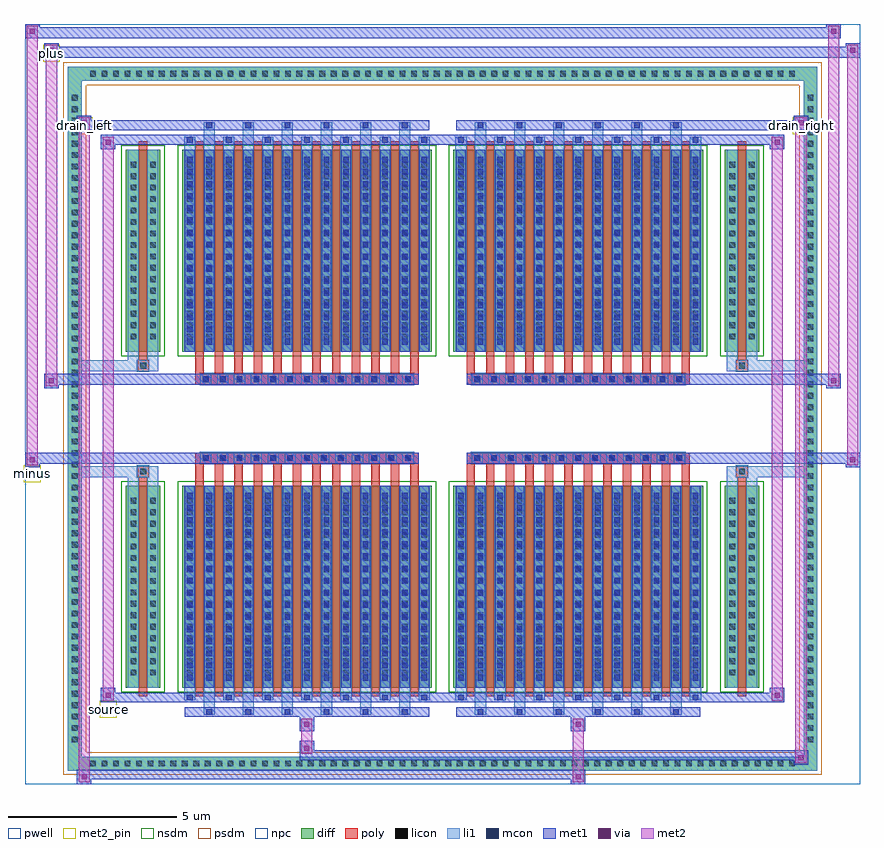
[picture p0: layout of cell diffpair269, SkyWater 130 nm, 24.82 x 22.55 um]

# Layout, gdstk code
import gdstk
lib = gdstk.Library(unit=1e-6, precision=5e-09)
def R(c, l, rs):  # rectangles x0, y0, x1, y1
    for r in rs: c.add(gdstk.rectangle(r[:2], r[2:], *l))
def A(c, l, x, y, w, h, nx, ny, dx, dy):  # array of equal rectangles
    R(c, l, [(x+i*dx, y+j*dy, x+i*dx+w, y+j*dy+h) for i in range(nx) for j in range(ny)])
def P(c, l, *ps):  # polygons
    for p in ps: c.add(gdstk.Polygon(p, *l))
pwell = (64, 44)
diff = (65, 20)
poly = (66, 20)
licon = (66, 44)
li1 = (67, 20)
mcon = (67, 44)
met1 = (68, 20)
via = (68, 44)
met2_pin = (69, 16)
met2 = (69, 20)
nsdm = (93, 44)
psdm = (94, 20)
npc = (95, 20)

diffpair269 = lib.new_cell('diffpair269')
R(diffpair269, pwell, [(-12.39,-10.84,12.39,11.71), (-9.71,-9.03,-0.01,-0.805), (0.01,-9.03,9.71,-0.805), (-9.71,0.805,-0.01,9.03), (0.01,0.805,9.71,9.03)])
A(diffpair269, diff, -10.575, -10.44, 0.41, 0.41, 62, 2, 0.34, 20.47)
A(diffpair269, diff, -11.12, -9.725, 0.41, 0.41, 1, 57, 0, 0.34)
A(diffpair269, diff, 10.71, -9.725, 0.41, 0.41, 1, 57, 0, 0.34)
R(diffpair269, diff, [(-10.575,-10.44,10.575,-10.03), (-11.12,-9.725,-10.71,9.725), (10.71,-9.725,11.12,9.725), (-9.4,-7.985,-8.37,-1.985), (-7.73,-7.985,-0.32,-1.985), (0.32,-7.985,7.73,-1.985), (8.37,-7.985,9.4,-1.985), (-9.4,1.985,-8.37,7.985), (-7.73,1.985,-0.32,7.985), (0.32,1.985,7.73,7.985), (8.37,1.985,9.4,7.985), (-10.575,10.03,10.575,10.44)])
P(diffpair269, diff, [(11.12,10.44),(-11.12,10.44),(-11.12,-10.03),(-10.71,-10.03),(-10.71,10.03),(10.71,10.03),(10.71,-10.03),(-10.71,-10.03),(-11.12,-10.03),(-11.12,-10.44),(11.12,-10.44)])
A(diffpair269, poly, -7.34, -8.235, 0.25, 6.5, 12, 2, 0.58, 9.97)
A(diffpair269, poly, 0.71, -8.235, 0.25, 6.5, 12, 2, 0.58, 9.97)
A(diffpair269, poly, -7.34, -1.735, 0.25, 0.4, 12, 2, 0.58, 3.07)
A(diffpair269, poly, 0.71, -1.735, 0.25, 0.4, 12, 2, 0.58, 3.07)
A(diffpair269, poly, -7.19, -1.335, 0.33, 0.33, 13, 2, 0.5, 2.34)
A(diffpair269, poly, 0.86, -1.335, 0.33, 0.33, 13, 2, 0.5, 2.34)
R(diffpair269, poly, [(-9.01,-8.235,-8.76,-1.735), (8.76,-8.235,9.01,-1.735), (-9.05,-1.735,-8.72,-1.405), (-9.05,-1.735,-8.72,-1.405), (8.72,-1.735,9.05,-1.405), (8.72,-1.735,9.05,-1.405), (-7.34,-1.335,-0.71,-1.005), (0.71,-1.335,7.34,-1.005), (-7.34,1.005,-0.71,1.335), (0.71,1.005,7.34,1.335), (-9.05,1.405,-8.72,1.735), (-9.05,1.405,-8.72,1.735), (8.72,1.405,9.05,1.735), (8.72,1.405,9.05,1.735), (-9.01,1.735,-8.76,8.235), (8.76,1.735,9.01,8.235)])
A(diffpair269, licon, -10.455, -10.32, 0.17, 0.17, 62, 2, 0.34, 20.47)
A(diffpair269, licon, -11, -9.605, 0.17, 0.17, 1, 57, 0, 0.34)
A(diffpair269, licon, 10.83, -9.605, 0.17, 0.17, 1, 57, 0, 0.34)
A(diffpair269, licon, -9.26, -7.62, 0.17, 0.17, 1, 16, 0, 0.34)
A(diffpair269, licon, -8.68, -7.62, 0.17, 0.17, 1, 16, 0, 0.34)
A(diffpair269, licon, -7.59, -7.62, 0.17, 0.17, 13, 16, 0.58, 0.34)
A(diffpair269, licon, 0.46, -7.62, 0.17, 0.17, 13, 16, 0.58, 0.34)
A(diffpair269, licon, 8.51, -7.62, 0.17, 0.17, 1, 16, 0, 0.34)
A(diffpair269, licon, 9.09, -7.62, 0.17, 0.17, 1, 16, 0, 0.34)
A(diffpair269, licon, -7.11, -1.255, 0.17, 0.17, 13, 2, 0.5, 2.34)
A(diffpair269, licon, 0.94, -1.255, 0.17, 0.17, 13, 2, 0.5, 2.34)
A(diffpair269, licon, -9.26, 2.35, 0.17, 0.17, 1, 16, 0, 0.34)
A(diffpair269, licon, -8.68, 2.35, 0.17, 0.17, 1, 16, 0, 0.34)
A(diffpair269, licon, -7.59, 2.35, 0.17, 0.17, 13, 16, 0.58, 0.34)
A(diffpair269, licon, 0.46, 2.35, 0.17, 0.17, 13, 16, 0.58, 0.34)
A(diffpair269, licon, 8.51, 2.35, 0.17, 0.17, 1, 16, 0, 0.34)
A(diffpair269, licon, 9.09, 2.35, 0.17, 0.17, 1, 16, 0, 0.34)
R(diffpair269, licon, [(-8.97,-1.655,-8.8,-1.485), (8.8,-1.655,8.97,-1.485), (-8.97,1.485,-8.8,1.655), (8.8,1.485,8.97,1.655)])
A(diffpair269, li1, -10.535, -10.4, 0.33, 0.33, 62, 2, 0.34, 20.47)
A(diffpair269, li1, -11.08, -9.685, 0.33, 0.33, 1, 57, 0, 0.34)
A(diffpair269, li1, 10.75, -9.685, 0.33, 0.33, 1, 57, 0, 0.34)
A(diffpair269, li1, -7.09, -8.79, 0.33, 0.805, 6, 2, 1.16, 16.775)
A(diffpair269, li1, -7.01, -8.79, 0.17, 0.17, 6, 2, 1.16, 17.41)
A(diffpair269, li1, 0.96, -8.79, 0.33, 0.805, 6, 2, 1.16, 16.775)
A(diffpair269, li1, 1.04, -8.79, 0.17, 0.17, 6, 2, 1.16, 17.41)
A(diffpair269, li1, -7.67, -8.36, 0.33, 0.375, 7, 2, 1.16, 16.345)
A(diffpair269, li1, -7.59, -8.36, 0.17, 0.17, 7, 2, 1.16, 16.55)
A(diffpair269, li1, 0.38, -8.36, 0.33, 0.375, 7, 2, 1.16, 16.345)
A(diffpair269, li1, 0.46, -8.36, 0.17, 0.17, 7, 2, 1.16, 16.55)
A(diffpair269, li1, -7.67, -7.985, 0.33, 6, 13, 2, 0.58, 9.97)
A(diffpair269, li1, 0.38, -7.985, 0.33, 6, 13, 2, 0.58, 9.97)
A(diffpair269, li1, -7.59, -7.77, 0.17, 0.17, 13, 16, 0.58, 0.36)
A(diffpair269, li1, -7.59, -7.77, 0.17, 5.57, 13, 2, 0.58, 9.97)
A(diffpair269, li1, 0.46, -7.77, 0.17, 0.17, 13, 16, 0.58, 0.36)
A(diffpair269, li1, 0.46, -7.77, 0.17, 5.57, 13, 2, 0.58, 9.97)
A(diffpair269, li1, -9.34, -7.7, 0.33, 0.33, 1, 16, 0, 0.34)
A(diffpair269, li1, -8.76, -7.7, 0.33, 0.33, 1, 16, 0, 0.34)
A(diffpair269, li1, -7.67, -7.7, 0.33, 0.33, 13, 16, 0.58, 0.34)
A(diffpair269, li1, 0.38, -7.7, 0.33, 0.33, 13, 16, 0.58, 0.34)
A(diffpair269, li1, 8.43, -7.7, 0.33, 0.33, 1, 16, 0, 0.34)
A(diffpair269, li1, 9.01, -7.7, 0.33, 0.33, 1, 16, 0, 0.34)
A(diffpair269, li1, -7.19, -1.335, 0.33, 0.33, 13, 2, 0.5, 2.34)
A(diffpair269, li1, 0.86, -1.335, 0.33, 0.33, 13, 2, 0.5, 2.34)
A(diffpair269, li1, -7.59, 2.2, 0.17, 0.17, 13, 16, 0.58, 0.36)
A(diffpair269, li1, 0.46, 2.2, 0.17, 0.17, 13, 16, 0.58, 0.36)
A(diffpair269, li1, -9.34, 2.27, 0.33, 0.33, 1, 16, 0, 0.34)
A(diffpair269, li1, -8.76, 2.27, 0.33, 0.33, 1, 16, 0, 0.34)
A(diffpair269, li1, -7.67, 2.27, 0.33, 0.33, 13, 16, 0.58, 0.34)
A(diffpair269, li1, 0.38, 2.27, 0.33, 0.33, 13, 16, 0.58, 0.34)
A(diffpair269, li1, 8.43, 2.27, 0.33, 0.33, 1, 16, 0, 0.34)
A(diffpair269, li1, 9.01, 2.27, 0.33, 0.33, 1, 16, 0, 0.34)
R(diffpair269, li1, [(-11.12,-10.44,-10.71,-10.03), (-11.12,-10.44,-10.71,-10.03), (-10.71,-10.44,10.71,-10.03), (10.71,-10.44,11.12,-10.03), (10.71,-10.44,11.12,-10.03), (-11.12,-10.03,-10.71,10.03), (10.71,-10.03,11.12,10.03), (-9.34,-7.985,-9.01,-1.985), (-8.76,-7.985,-8.43,-1.985), (8.43,-7.985,8.76,-1.985), (9.01,-7.985,9.34,-1.985), (-9.34,-1.985,-9.01,-1.405), (-8.76,-1.985,-8.43,-1.405), (8.43,-1.985,8.76,-1.405), (9.01,-1.985,9.34,-1.405), (-11.12,-1.735,-9.05,-1.405), (-9.34,-1.735,-9.05,-1.405), (-9.05,-1.735,-8.72,-1.405), (-8.72,-1.735,-8.43,-1.405), (8.43,-1.735,8.72,-1.405), (8.72,-1.735,9.05,-1.405), (8.72,-1.735,11.12,-1.405), (9.05,-1.735,9.34,-1.405), (-11.12,1.405,-9.05,1.735), (-9.34,1.405,-9.05,1.735), (-9.34,1.405,-9.01,1.985), (-9.05,1.405,-8.72,1.735), (-8.76,1.405,-8.43,1.985), (-8.72,1.405,-8.43,1.735), (8.43,1.405,8.72,1.735), (8.43,1.405,8.76,1.985), (8.72,1.405,9.05,1.735), (8.72,1.405,11.12,1.735), (9.01,1.405,9.34,1.985), (9.05,1.405,9.34,1.735), (-9.34,1.985,-9.01,7.985), (-8.76,1.985,-8.43,7.985), (8.43,1.985,8.76,7.985), (9.01,1.985,9.34,7.985), (-11.12,10.03,-10.71,10.44), (-11.12,10.03,-10.71,10.44), (-10.71,10.03,10.71,10.44), (10.71,10.03,11.12,10.44), (10.71,10.03,11.12,10.44)])
A(diffpair269, mcon, -7.01, -8.79, 0.17, 0.17, 6, 2, 1.16, 17.41)
A(diffpair269, mcon, 1.04, -8.79, 0.17, 0.17, 6, 2, 1.16, 17.41)
A(diffpair269, mcon, -7.59, -8.36, 0.17, 0.17, 7, 2, 1.16, 16.55)
A(diffpair269, mcon, 0.46, -8.36, 0.17, 0.17, 7, 2, 1.16, 16.55)
A(diffpair269, mcon, -7.59, -7.77, 0.17, 0.17, 13, 16, 0.58, 0.36)
A(diffpair269, mcon, 0.46, -7.77, 0.17, 0.17, 13, 16, 0.58, 0.36)
A(diffpair269, mcon, -7.11, -1.255, 0.17, 0.17, 13, 2, 0.5, 2.34)
A(diffpair269, mcon, 0.94, -1.255, 0.17, 0.17, 13, 2, 0.5, 2.34)
A(diffpair269, mcon, -7.59, 2.2, 0.17, 0.17, 13, 16, 0.58, 0.36)
A(diffpair269, mcon, 0.46, 2.2, 0.17, 0.17, 13, 16, 0.58, 0.36)
A(diffpair269, met1, -7.07, -8.85, 0.29, 0.29, 6, 2, 1.16, 17.41)
A(diffpair269, met1, 0.98, -8.85, 0.29, 0.29, 6, 2, 1.16, 17.41)
A(diffpair269, met1, -7.65, -8.42, 0.29, 0.29, 7, 2, 1.16, 16.55)
A(diffpair269, met1, 0.4, -8.42, 0.29, 0.29, 7, 2, 1.16, 16.55)
A(diffpair269, met1, -7.65, -7.985, 0.29, 6, 13, 2, 0.58, 9.97)
A(diffpair269, met1, 0.4, -7.985, 0.29, 6, 13, 2, 0.58, 9.97)
A(diffpair269, met1, -7.65, -7.83, 0.29, 0.29, 13, 16, 0.58, 0.36)
A(diffpair269, met1, 0.4, -7.83, 0.29, 0.29, 13, 16, 0.58, 0.36)
A(diffpair269, met1, -7.17, -1.315, 0.29, 0.29, 13, 2, 0.5, 2.34)
A(diffpair269, met1, 0.88, -1.315, 0.29, 0.29, 13, 2, 0.5, 2.34)
A(diffpair269, met1, -7.65, 2.14, 0.29, 0.29, 13, 16, 0.58, 0.36)
A(diffpair269, met1, 0.4, 2.14, 0.29, 0.29, 13, 16, 0.58, 0.36)
R(diffpair269, met1, [(-10.85,-10.84,-10.42,-10.41), (3.81,-10.84,4.24,-10.41), (-10.85,-10.7,4.24,-10.41), (10.42,-10.27,10.85,-9.84), (-4.24,-10.13,10.85,-9.84), (-4.24,-9.99,-3.81,-9.56), (-4.24,-9.28,-3.81,-8.85), (3.81,-9.28,4.24,-8.85), (-7.65,-8.85,-0.4,-8.56), (0.4,-8.85,7.65,-8.56), (-10.14,-8.42,-9.71,-7.99), (-10.14,-8.42,-7.65,-8.13), (-7.65,-8.42,-0.4,-8.13), (-0.4,-8.42,0.4,-8.13), (0.4,-8.42,7.65,-8.13), (7.65,-8.42,10.14,-8.13), (9.71,-8.42,10.14,-7.99), (-12.39,-1.435,-11.96,-1.005), (11.96,-1.435,12.39,-1.005), (-12.39,-1.335,-0.71,-1.005), (-7.34,-1.335,-0.71,-1.005), (0.71,-1.335,7.34,-1.005), (0.71,-1.335,12.39,-1.005), (-11.82,0.905,-11.39,1.335), (11.39,0.905,11.82,1.335), (-11.82,1.005,-7.34,1.335), (-7.34,1.005,-0.71,1.335), (0.71,1.005,7.34,1.335), (7.34,1.005,11.82,1.335), (-10.14,7.99,-9.71,8.42), (9.71,7.99,10.14,8.42), (-10.14,8.13,-7.65,8.42), (-7.65,8.13,-0.4,8.42), (-0.4,8.13,0.4,8.42), (0.4,8.13,7.65,8.42), (7.65,8.13,10.14,8.42), (-10.85,8.56,-10.42,8.99), (-10.85,8.56,-7.65,8.85), (-7.65,8.56,-0.4,8.85), (0.4,8.56,7.65,8.85), (7.65,8.56,10.85,8.85), (10.42,8.56,10.85,8.99), (-11.82,10.71,-11.39,11.14), (-11.82,10.71,-9.71,11.04), (-9.71,10.71,9.71,11.04), (9.71,10.71,12.39,11.04), (11.96,10.71,12.39,11.14), (-12.39,11.28,-11.96,11.71), (-12.39,11.28,-9.71,11.61), (-9.71,11.28,9.71,11.61), (9.71,11.28,11.82,11.61), (11.39,11.28,11.82,11.71)])
R(diffpair269, via, [(-10.71,-10.7,-10.56,-10.55), (3.95,-10.7,4.1,-10.55), (10.56,-10.13,10.71,-9.98), (-4.1,-9.85,-3.95,-9.7), (-4.1,-9.14,-3.95,-8.99), (3.95,-9.14,4.1,-8.99), (-10,-8.28,-9.85,-8.13), (9.85,-8.28,10,-8.13), (-12.25,-1.295,-12.1,-1.145), (12.1,-1.295,12.25,-1.145), (-11.68,1.045,-11.53,1.195), (11.53,1.045,11.68,1.195), (-10,8.13,-9.85,8.28), (9.85,8.13,10,8.28), (-10.71,8.7,-10.56,8.85), (10.56,8.7,10.71,8.85), (-11.68,10.85,-11.53,11), (12.1,10.85,12.25,11), (-12.25,11.42,-12.1,11.57), (11.53,11.42,11.68,11.57)])
R(diffpair269, met2_pin, [(-10.175,-8.87,-9.675,-8.37), (-12.425,-1.885,-11.925,-1.385), (-10.885,8.44,-10.385,8.94), (10.385,8.44,10.885,8.94), (-11.855,10.59,-11.355,11.09)])
R(diffpair269, met2, [(-10.8,-10.79,-10.47,-10.46), (-10.8,-10.79,-10.47,8.94), (3.86,-10.79,4.19,-10.46), (3.86,-10.46,4.19,-9.23), (10.47,-10.22,10.8,-9.89), (10.47,-10.22,10.8,8.94), (-4.19,-9.94,-3.86,-9.61), (-4.19,-9.61,-3.86,-9.23), (-4.19,-9.23,-3.86,-8.9), (3.86,-9.23,4.19,-8.9), (-10.09,-8.37,-9.76,-8.04), (-10.09,-8.37,-9.76,8.37), (9.76,-8.37,10.09,-8.04), (9.76,-8.37,10.09,8.37), (-12.34,-1.385,-12.01,-1.055), (-12.34,-1.385,-12.01,11.66), (12.01,-1.385,12.34,-1.055), (12.01,-1.385,12.34,11.09), (-11.77,0.955,-11.44,1.285), (-11.77,0.955,-11.44,11.09), (11.44,0.955,11.77,1.285), (11.44,0.955,11.77,11.66), (-10.09,8.04,-9.76,8.37), (9.76,8.04,10.09,8.37), (-10.8,8.61,-10.47,8.94), (10.47,8.61,10.8,8.94), (-11.77,10.76,-11.44,11.09), (12.01,10.76,12.34,11.09), (-12.34,11.33,-12.01,11.66), (11.44,11.33,11.77,11.66)])
P(diffpair269, met2, [(12.34,-1.385),(12.34,-1.385),(12.34,-1.055),(12.34,-1.055)],
  [(12.34,10.76),(12.34,10.76),(12.34,11.09),(12.34,11.09)],
  [(-12.01,-1.385),(-12.01,-1.385),(-12.01,-1.055),(-12.01,-1.055)],
  [(-12.01,11.33),(-12.01,11.33),(-12.01,11.66),(-12.01,11.66)],
  [(11.77,0.955),(11.77,0.955),(11.77,1.285),(11.77,1.285)],
  [(11.77,11.33),(11.77,11.33),(11.77,11.66),(11.77,11.66)],
  [(-11.44,0.955),(-11.44,0.955),(-11.44,1.285),(-11.44,1.285)],
  [(-11.44,10.76),(-11.44,10.76),(-11.44,11.09),(-11.44,11.09)],
  [(-10.47,-10.79),(-10.47,-10.79),(-10.47,-10.46),(-10.47,-10.46)],
  [(-10.47,8.61),(-10.47,8.61),(-10.47,8.94),(-10.47,8.94)],
  [(10.8,-10.22),(10.8,-10.22),(10.8,-9.89),(10.8,-9.89)],
  [(10.8,8.61),(10.8,8.61),(10.8,8.94),(10.8,8.94)],
  [(-9.76,-8.37),(-9.76,-8.37),(-9.76,-8.04),(-9.76,-8.04)],
  [(-9.76,8.04),(-9.76,8.04),(-9.76,8.37),(-9.76,8.37)],
  [(10.09,-8.37),(10.09,-8.37),(10.09,-8.04),(10.09,-8.04)],
  [(10.09,8.04),(10.09,8.04),(10.09,8.37),(10.09,8.37)])
R(diffpair269, nsdm, [(-9.53,-8.115,-8.24,-1.855), (-7.86,-8.115,-0.19,-1.855), (0.19,-8.115,7.86,-1.855), (8.24,-8.115,9.53,-1.855), (-9.53,1.855,-8.24,8.115), (-7.86,1.855,-0.19,8.115), (0.19,1.855,7.86,8.115), (8.24,1.855,9.53,8.115)])
P(diffpair269, psdm, [(11.25,10.57),(-11.25,10.57),(-11.25,-9.9),(-10.58,-9.9),(-10.58,9.9),(10.58,9.9),(10.58,-9.9),(-10.58,-9.9),(-11.25,-9.9),(-11.25,-10.57),(11.25,-10.57)])
A(diffpair269, npc, -7.21, -1.355, 0.37, 0.37, 13, 2, 0.5, 2.34)
A(diffpair269, npc, 0.84, -1.355, 0.37, 0.37, 13, 2, 0.5, 2.34)
R(diffpair269, npc, [(-9.07,-1.755,-8.7,-1.385), (8.7,-1.755,9.07,-1.385), (-7.21,-1.355,-6.34,-0.985), (-7.21,-1.355,-6.34,-0.985), (-6.71,-1.355,-5.84,-0.985), (-6.71,-1.355,-5.84,-0.985), (-6.21,-1.355,-5.34,-0.985), (-6.21,-1.355,-5.34,-0.985), (-5.71,-1.355,-4.84,-0.985), (-5.71,-1.355,-4.84,-0.985), (-5.21,-1.355,-4.34,-0.985), (-5.21,-1.355,-4.34,-0.985), (-4.71,-1.355,-3.84,-0.985), (-4.71,-1.355,-3.84,-0.985), (-4.21,-1.355,-3.34,-0.985), (-4.21,-1.355,-3.34,-0.985), (-3.71,-1.355,-2.84,-0.985), (-3.71,-1.355,-2.84,-0.985), (-3.21,-1.355,-2.34,-0.985), (-3.21,-1.355,-2.34,-0.985), (-2.71,-1.355,-1.84,-0.985), (-2.71,-1.355,-1.84,-0.985), (-2.21,-1.355,-1.34,-0.985), (-2.21,-1.355,-1.34,-0.985), (-1.71,-1.355,-0.84,-0.985), (-1.71,-1.355,-0.84,-0.985), (0.84,-1.355,1.71,-0.985), (0.84,-1.355,1.71,-0.985), (1.34,-1.355,2.21,-0.985), (1.34,-1.355,2.21,-0.985), (1.84,-1.355,2.71,-0.985), (1.84,-1.355,2.71,-0.985), (2.34,-1.355,3.21,-0.985), (2.34,-1.355,3.21,-0.985), (2.84,-1.355,3.71,-0.985), (2.84,-1.355,3.71,-0.985), (3.34,-1.355,4.21,-0.985), (3.34,-1.355,4.21,-0.985), (3.84,-1.355,4.71,-0.985), (3.84,-1.355,4.71,-0.985), (4.34,-1.355,5.21,-0.985), (4.34,-1.355,5.21,-0.985), (4.84,-1.355,5.71,-0.985), (4.84,-1.355,5.71,-0.985), (5.34,-1.355,6.21,-0.985), (5.34,-1.355,6.21,-0.985), (5.84,-1.355,6.71,-0.985), (5.84,-1.355,6.71,-0.985), (6.34,-1.355,7.21,-0.985), (6.34,-1.355,7.21,-0.985), (-7.21,0.985,-6.34,1.355), (-7.21,0.985,-6.34,1.355), (-6.71,0.985,-5.84,1.355), (-6.71,0.985,-5.84,1.355), (-6.21,0.985,-5.34,1.355), (-6.21,0.985,-5.34,1.355), (-5.71,0.985,-4.84,1.355), (-5.71,0.985,-4.84,1.355), (-5.21,0.985,-4.34,1.355), (-5.21,0.985,-4.34,1.355), (-4.71,0.985,-3.84,1.355), (-4.71,0.985,-3.84,1.355), (-4.21,0.985,-3.34,1.355), (-4.21,0.985,-3.34,1.355), (-3.71,0.985,-2.84,1.355), (-3.71,0.985,-2.84,1.355), (-3.21,0.985,-2.34,1.355), (-3.21,0.985,-2.34,1.355), (-2.71,0.985,-1.84,1.355), (-2.71,0.985,-1.84,1.355), (-2.21,0.985,-1.34,1.355), (-2.21,0.985,-1.34,1.355), (-1.71,0.985,-0.84,1.355), (-1.71,0.985,-0.84,1.355), (0.84,0.985,1.71,1.355), (0.84,0.985,1.71,1.355), (1.34,0.985,2.21,1.355), (1.34,0.985,2.21,1.355), (1.84,0.985,2.71,1.355), (1.84,0.985,2.71,1.355), (2.34,0.985,3.21,1.355), (2.34,0.985,3.21,1.355), (2.84,0.985,3.71,1.355), (2.84,0.985,3.71,1.355), (3.34,0.985,4.21,1.355), (3.34,0.985,4.21,1.355), (3.84,0.985,4.71,1.355), (3.84,0.985,4.71,1.355), (4.34,0.985,5.21,1.355), (4.34,0.985,5.21,1.355), (4.84,0.985,5.71,1.355), (4.84,0.985,5.71,1.355), (5.34,0.985,6.21,1.355), (5.34,0.985,6.21,1.355), (5.84,0.985,6.71,1.355), (5.84,0.985,6.71,1.355), (6.34,0.985,7.21,1.355), (6.34,0.985,7.21,1.355), (-9.07,1.385,-8.7,1.755), (8.7,1.385,9.07,1.755)])
diffpair269.add(gdstk.Label('minus', (-12.175,-1.635), layer=69, texttype=5))
diffpair269.add(gdstk.Label('drain_right', (10.635,8.69), layer=69, texttype=5))
diffpair269.add(gdstk.Label('drain_left', (-10.635,8.69), layer=69, texttype=5))
diffpair269.add(gdstk.Label('source', (-9.925,-8.62), layer=69, texttype=5))
diffpair269.add(gdstk.Label('plus', (-11.605,10.84), layer=69, texttype=5))

lib.write_gds('diffpair269.gds')
